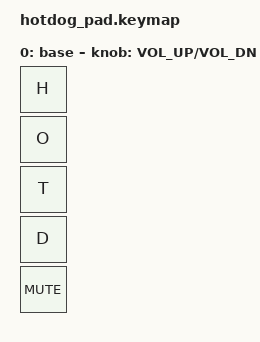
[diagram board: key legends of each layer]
#include <behaviors.dtsi>
#include <dt-bindings/zmk/keys.h>

/ {
	combos {
		compatible = "zmk,combos";
		
		combo_enable_studio {
			timeout-ms = <50>;
			key-positions = <0 1 2>;
			bindings = <&studio_unlock>;
		};
		
		combo_enable_one_two {
			timeout-ms = <50>;
			key-positions = <0 1>;
			bindings = <&studio_unlock>;
		};
		
		combo_enable_two_three {
			timeout-ms = <50>;
			key-positions = <1 2>;
			bindings = <&kp EXCLAMATION>;
		};
		
		combo_enable_three_four {
			timeout-ms = <50>;
			key-positions = <2 3>;
			bindings = <&kp BACKSPACE>;
		};
	};
	
	keymap {
		compatible = "zmk,keymap";
		
		base {
			bindings = <
			&kp H
			&kp O
			&kp T
			&kp D
			&kp C_MUTE
			>;
			
			sensor-bindings = <&inc_dec_kp C_VOL_UP C_VOL_DN>;
		};
		
		extra1 {
			status = "reserved";
		};
		
		extra2 {
			status = "reserved";
		};
	};
};
